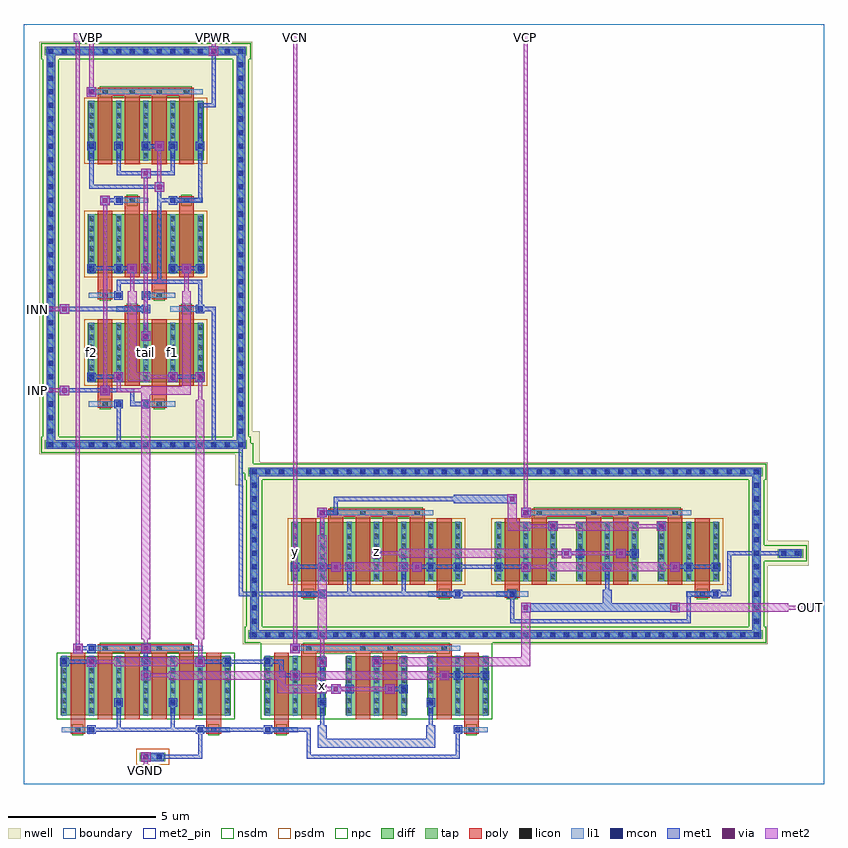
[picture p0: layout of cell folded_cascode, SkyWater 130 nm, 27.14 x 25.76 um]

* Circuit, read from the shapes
.subckt folded_cascode INN INP OUT VBN VBP VCN VCP VGND VPWR f1 f2 tail x y z
XM1 f1 VGND f1 VGND sky130_fd_pr__nfet_01v8 w=2 l=0.5 m=4
XM2 VGND VBN f1 VGND sky130_fd_pr__nfet_01v8 w=2 l=0.5 m=2
XM3 f2 VBN VGND VGND sky130_fd_pr__nfet_01v8 w=2 l=0.5 m=2
XM4 x VCN f1 VGND sky130_fd_pr__nfet_01v8 w=2 l=0.5 m=2
XM5 OUT VCN f2 VGND sky130_fd_pr__nfet_01v8 w=2 l=0.5 m=2
XM6 f2 VPWR f2 VPWR sky130_fd_pr__pfet_01v8 w=2 l=0.5 m=2
XM7 f1 VPWR f1 VPWR sky130_fd_pr__pfet_01v8 w=2 l=0.5 m=2
XM8 tail VBP VPWR VPWR sky130_fd_pr__pfet_01v8 w=2 l=0.5 m=4
XM9 tail INN f2 VPWR sky130_fd_pr__pfet_01v8 w=2 l=0.5 m=2
XM10 tail INP f1 VPWR sky130_fd_pr__pfet_01v8 w=2 l=0.5 m=2
XM11 y VPWR y VPWR sky130_fd_pr__pfet_01v8 w=2 l=0.5 m=4
XM12 VPWR x y VPWR sky130_fd_pr__pfet_01v8 w=2 l=0.5 m=2
XM13 z x VPWR VPWR sky130_fd_pr__pfet_01v8 w=2 l=0.5 m=2
XM14 x VCP y VPWR sky130_fd_pr__pfet_01v8 w=2 l=0.5 m=2
XM15 OUT VCP z VPWR sky130_fd_pr__pfet_01v8 w=2 l=0.5 m=2
.ends

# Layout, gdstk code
import gdstk
lib = gdstk.Library(unit=1e-6, precision=1e-09)
def R(c, l, rs):  # rectangles x0, y0, x1, y1
    for r in rs: c.add(gdstk.rectangle(r[:2], r[2:], *l))
def A(c, l, x, y, w, h, nx, ny, dx, dy):  # array of equal rectangles
    R(c, l, [(x+i*dx, y+j*dy, x+i*dx+w, y+j*dy+h) for i in range(nx) for j in range(ny)])
nwell = (64, 20)
diff = (65, 20)
tap = (65, 44)
poly = (66, 20)
licon = (66, 44)
li1 = (67, 20)
mcon = (67, 44)
met1 = (68, 20)
via = (68, 44)
met2_pin = (69, 16)
met2 = (69, 20)
nsdm = (93, 44)
psdm = (94, 20)
npc = (95, 20)
boundary = (235, 4)

folded_cascode = lib.new_cell('folded_cascode')
R(folded_cascode, nwell, [(7.435,4.735,25.225,7.4), (7.435,7.4,26.605,8.24), (7.435,8.24,25.225,10.124), (7.17,10.124,25.225,10.905), (7.17,10.905,8.01,11.175), (0.535,11.175,8.01,11.956), (0.535,11.956,7.745,25.165)])
A(folded_cascode, diff, 8.155, 2.325, 2.09, 2, 3, 1, 2.76, 0)
A(folded_cascode, diff, 15.975, 6.88, 2.09, 2, 3, 1, 2.76, 0)
R(folded_cascode, diff, [(1.255,2.325,7.025,4.325), (9.075,6.88,14.845,8.88), (2.175,13.625,6.105,15.625), (2.175,17.305,6.105,19.305), (2.175,21.14,6.105,23.14)])
R(folded_cascode, tap, [(3.935,0.775,4.805,1.065), (7.615,4.915,25.045,5.205), (7.675,4.915,7.965,10.725), (24.695,4.915,24.985,10.725), (25.555,7.675,26.425,7.965), (7.615,10.435,25.045,10.725), (0.715,11.355,7.565,11.645), (0.775,11.355,1.065,24.985), (7.215,11.355,7.505,24.985), (0.715,24.695,7.565,24.985)])
A(folded_cascode, poly, 2.51, 2.195, 0.5, 2.405, 4, 1, 0.92, 0)
A(folded_cascode, poly, 10.33, 6.75, 0.5, 2.45, 4, 1, 0.92, 0)
A(folded_cascode, poly, 2.51, 21.01, 0.5, 2.45, 4, 1, 0.92, 0)
R(folded_cascode, poly, [(1.59,1.705,2.09,1.975), (6.19,1.705,6.69,1.975), (8.49,1.705,8.99,1.975), (14.93,1.705,15.43,1.975), (1.59,1.84,2.09,4.455), (6.19,1.84,6.69,4.455), (8.49,1.84,8.99,4.455), (14.93,1.84,15.43,4.455), (9.41,2.195,9.91,4.6), (11.25,2.195,11.75,4.6), (12.17,2.195,12.67,4.6), (14.01,2.195,14.51,4.6), (2.51,4.465,5.77,4.735), (9.41,4.465,14.51,4.735), (9.41,6.305,9.91,6.575), (14.01,6.305,14.51,6.575), (16.31,6.305,16.81,6.575), (22.75,6.305,23.25,6.575), (9.41,6.44,9.91,9.01), (14.01,6.44,14.51,9.01), (16.31,6.44,16.81,9.01), (22.75,6.44,23.25,9.01), (17.23,6.75,17.73,9.2), (19.07,6.75,19.57,9.2), (19.99,6.75,20.49,9.2), (21.83,6.75,22.33,9.2), (10.33,9.065,13.59,9.335), (17.23,9.065,22.33,9.335), (2.51,12.745,3.01,13.015), (4.35,12.745,4.85,13.015), (2.51,12.88,3.01,15.755), (4.35,12.88,4.85,15.755), (3.43,13.495,3.93,16.1), (5.27,13.495,5.77,16.1), (3.43,15.965,3.93,16.235), (5.27,15.965,5.77,16.235), (2.51,16.425,3.01,16.695), (4.35,16.425,4.85,16.695), (2.51,16.56,3.01,19.435), (4.35,16.56,4.85,19.435), (3.43,17.175,3.93,19.78), (5.27,17.175,5.77,19.78), (3.43,19.645,3.93,19.915), (5.27,19.645,5.77,19.915), (2.51,23.325,5.77,23.595)])
A(folded_cascode, licon, 1.295, 2.39, 0.17, 0.17, 7, 6, 0.92, 0.34)
A(folded_cascode, licon, 8.195, 2.39, 0.17, 0.17, 9, 6, 0.92, 0.34)
A(folded_cascode, licon, 2.675, 4.515, 0.17, 0.17, 4, 2, 0.92, 18.86)
A(folded_cascode, licon, 7.735, 4.975, 0.17, 0.17, 38, 2, 0.46, 5.52)
A(folded_cascode, licon, 7.735, 5.435, 0.17, 0.17, 1, 11, 0, 0.46)
A(folded_cascode, licon, 24.755, 5.435, 0.17, 0.17, 1, 11, 0, 0.46)
A(folded_cascode, licon, 9.115, 6.945, 0.17, 0.17, 7, 6, 0.92, 0.34)
A(folded_cascode, licon, 16.015, 6.945, 0.17, 0.17, 9, 6, 0.92, 0.34)
A(folded_cascode, licon, 10.495, 9.115, 0.17, 0.17, 4, 1, 0.92, 0)
A(folded_cascode, licon, 0.835, 11.415, 0.17, 0.17, 15, 2, 0.46, 13.34)
A(folded_cascode, licon, 7.275, 11.875, 0.17, 0.17, 1, 9, 0, 0.46)
A(folded_cascode, licon, 0.835, 12.795, 0.17, 0.17, 3, 2, 1.84, 3.68)
A(folded_cascode, licon, 0.835, 13.255, 0.17, 0.17, 1, 7, 0, 0.46)
A(folded_cascode, licon, 2.215, 13.69, 0.17, 0.17, 5, 6, 0.92, 0.34)
A(folded_cascode, licon, 3.595, 16.015, 0.17, 0.17, 3, 2, 1.84, 3.68)
A(folded_cascode, licon, 7.275, 16.475, 0.17, 0.17, 1, 7, 0, 0.46)
A(folded_cascode, licon, 0.835, 16.935, 0.17, 0.17, 1, 17, 0, 0.46)
A(folded_cascode, licon, 2.215, 17.37, 0.17, 0.17, 5, 6, 0.92, 0.34)
A(folded_cascode, licon, 7.275, 20.155, 0.17, 0.17, 1, 10, 0, 0.46)
A(folded_cascode, licon, 2.215, 21.205, 0.17, 0.17, 5, 6, 0.92, 0.34)
R(folded_cascode, licon, [(4.055,0.835,4.225,1.005), (4.515,0.835,4.685,1.005), (1.755,1.755,1.925,1.925), (6.355,1.755,6.525,1.925), (8.655,1.755,8.825,1.925), (15.095,1.755,15.265,1.925), (9.575,4.515,9.745,4.685), (11.415,4.515,11.585,4.685), (12.335,4.515,12.505,4.685), (14.175,4.515,14.345,4.685), (9.575,6.355,9.745,6.525), (14.175,6.355,14.345,6.525), (16.475,6.355,16.645,6.525), (22.915,6.355,23.085,6.525), (25.675,7.735,25.845,7.905), (26.135,7.735,26.305,7.905), (17.395,9.115,17.565,9.285), (19.235,9.115,19.405,9.285), (20.155,9.115,20.325,9.285), (21.995,9.115,22.165,9.285), (0.835,11.875,1.005,12.045), (0.835,12.335,1.005,12.505)])
A(folded_cascode, li1, 1.295, 2.31, 0.17, 2.03, 7, 1, 0.92, 0)
A(folded_cascode, li1, 8.195, 2.31, 0.17, 2.03, 9, 1, 0.92, 0)
A(folded_cascode, li1, 9.115, 6.865, 0.17, 2.03, 7, 1, 0.92, 0)
A(folded_cascode, li1, 16.015, 6.865, 0.17, 2.03, 9, 1, 0.92, 0)
A(folded_cascode, li1, 2.215, 13.61, 0.17, 2.03, 5, 2, 0.92, 3.68)
A(folded_cascode, li1, 2.215, 21.125, 0.17, 2.03, 5, 1, 0.92, 0)
R(folded_cascode, li1, [(3.975,0.835,4.765,1.005), (1.295,1.755,2.385,1.925), (5.895,1.755,6.985,1.925), (8.195,1.755,9.285,1.925), (14.635,1.755,15.725,1.925), (2.215,4.515,6.065,4.685), (9.115,4.515,14.805,4.685), (7.655,4.975,25.005,5.145), (7.735,4.975,7.905,10.665), (24.755,4.975,24.925,10.665), (9.115,6.355,10.205,6.525), (13.715,6.355,14.805,6.525), (16.015,6.355,17.105,6.525), (22.455,6.355,23.545,6.525), (25.595,7.735,26.385,7.905), (10.035,9.115,13.885,9.285), (16.935,9.115,22.625,9.285), (7.655,10.495,25.005,10.665), (0.755,11.415,7.525,11.585), (0.835,11.415,1.005,24.925), (7.275,11.415,7.445,24.925), (2.215,12.795,3.305,12.965), (4.055,12.795,5.145,12.965), (3.135,16.015,4.225,16.185), (4.975,16.015,6.065,16.185), (2.215,16.475,3.305,16.645), (4.055,16.475,5.145,16.645), (3.135,19.695,4.225,19.865), (4.975,19.695,6.065,19.865), (2.215,23.375,6.065,23.545), (0.755,24.755,7.525,24.925)])
A(folded_cascode, mcon, 2.215, 4.055, 0.17, 0.17, 3, 1, 1.84, 0)
A(folded_cascode, mcon, 7.735, 4.975, 0.17, 0.17, 38, 2, 0.46, 5.52)
A(folded_cascode, mcon, 7.735, 5.435, 0.17, 0.17, 1, 11, 0, 0.46)
A(folded_cascode, mcon, 24.755, 5.435, 0.17, 0.17, 1, 11, 0, 0.46)
A(folded_cascode, mcon, 9.115, 7.275, 0.17, 0.17, 3, 1, 0.92, 0)
A(folded_cascode, mcon, 12.795, 7.275, 0.17, 0.17, 3, 1, 0.92, 0)
A(folded_cascode, mcon, 16.935, 7.275, 0.17, 0.17, 3, 1, 2.76, 0)
A(folded_cascode, mcon, 0.835, 11.415, 0.17, 0.17, 15, 2, 0.46, 13.34)
A(folded_cascode, mcon, 0.835, 11.875, 0.17, 0.17, 1, 7, 0, 0.46)
A(folded_cascode, mcon, 7.275, 11.875, 0.17, 0.17, 1, 7, 0, 0.46)
A(folded_cascode, mcon, 0.835, 15.095, 0.17, 0.17, 3, 1, 3.22, 0)
A(folded_cascode, mcon, 0.835, 15.555, 0.17, 0.17, 1, 20, 0, 0.46)
A(folded_cascode, mcon, 7.275, 15.555, 0.17, 0.17, 1, 20, 0, 0.46)
A(folded_cascode, mcon, 2.215, 17.395, 0.17, 0.17, 5, 2, 0.92, 4.14)
R(folded_cascode, mcon, [(4.055,0.835,4.225,1.005), (4.515,0.835,4.685,1.005), (2.215,1.755,2.385,1.925), (5.895,1.755,6.065,1.925), (8.195,1.755,8.365,1.925), (14.635,1.755,14.805,1.925), (3.135,2.675,3.305,2.845), (4.975,2.675,5.145,2.845), (10.035,2.675,10.205,2.845), (13.715,2.675,13.885,2.845), (10.955,3.135,11.125,3.305), (12.795,3.135,12.965,3.305), (9.115,3.595,9.285,3.765), (14.635,3.595,14.805,3.765), (15.555,3.595,15.725,3.765), (1.295,4.055,1.465,4.225), (6.815,4.055,6.985,4.225), (8.195,4.055,8.365,4.225), (11.875,4.055,12.045,4.225), (2.215,4.515,2.385,4.685), (9.115,4.515,9.285,4.685), (10.035,6.355,10.205,6.525), (14.635,6.355,14.805,6.525), (16.475,6.355,16.645,6.525), (23.375,6.355,23.545,6.525), (16.015,7.275,16.185,7.445), (23.375,7.275,23.545,7.445), (11.875,7.735,12.045,7.905), (18.775,7.735,18.945,7.905), (20.615,7.735,20.785,7.905), (25.675,7.735,25.845,7.905), (26.135,7.735,26.305,7.905), (17.855,8.655,18.025,8.825), (21.535,8.655,21.705,8.825), (10.035,9.115,10.205,9.285), (16.935,9.115,17.105,9.285), (3.135,12.795,3.305,12.965), (4.055,12.795,4.225,12.965), (2.215,13.715,2.385,13.885), (3.135,13.715,3.305,13.885), (4.975,13.715,5.145,13.885), (5.895,13.715,6.065,13.885), (4.055,16.015,4.225,16.185), (5.895,16.015,6.065,16.185), (3.135,16.475,3.305,16.645), (4.055,16.475,4.225,16.645), (3.135,19.695,3.305,19.865), (4.975,19.695,5.145,19.865), (2.215,23.375,2.385,23.545)])
A(folded_cascode, met1, 3.98, 3.52, 0.32, 0.32, 3, 1, 5.06, 0)
A(folded_cascode, met1, 2.155, 3.995, 0.29, 0.29, 3, 1, 1.84, 0)
A(folded_cascode, met1, 9.055, 7.215, 0.29, 0.29, 3, 1, 0.92, 0)
A(folded_cascode, met1, 12.735, 7.215, 0.29, 0.29, 3, 1, 0.92, 0)
A(folded_cascode, met1, 16.875, 7.215, 0.29, 0.29, 3, 1, 2.76, 0)
A(folded_cascode, met1, 2.155, 17.335, 0.29, 0.29, 5, 2, 0.92, 4.14)
R(folded_cascode, met1, [(3.98,0.76,4.3,1.08), (3.995,0.775,4.745,1.065), (4.07,0.85,6.05,0.99), (4.07,0.85,4.21,0.99), (5.91,0.85,6.05,1.91), (9.59,0.85,14.79,0.99), (9.59,0.85,9.73,1.91), (14.65,0.85,14.79,1.91), (9.97,1.23,13.95,1.53), (9.97,1.23,10.27,1.99), (13.65,1.23,13.95,1.99), (2.155,1.695,2.445,1.985), (5.835,1.695,6.125,1.985), (8.135,1.695,8.425,1.985), (14.575,1.695,14.865,1.985), (2.23,1.77,5.13,1.91), (3.15,1.77,3.29,2.83), (4.99,1.77,5.13,2.83), (4.99,1.77,6.05,1.91), (5.91,1.77,8.35,1.91), (8.21,1.77,9.73,1.91), (10.05,1.77,10.19,2.83), (13.73,1.77,13.87,2.83), (3.075,2.615,3.365,2.905), (4.915,2.615,5.205,2.905), (9.975,2.615,10.265,2.905), (13.655,2.615,13.945,2.905), (10.05,2.69,10.19,4.21), (10.42,3.06,10.74,3.38), (12.26,3.06,12.58,3.38), (10.895,3.075,11.185,3.365), (12.735,3.075,13.025,3.365), (10.51,3.15,11.11,3.29), (12.35,3.15,12.95,3.29), (9.055,3.535,9.345,3.825), (14.575,3.535,14.865,3.825), (15.495,3.535,15.785,3.825), (4.07,3.61,4.21,4.21), (8.67,3.61,9.27,3.75), (8.67,3.61,8.81,4.21), (14.19,3.61,14.79,3.75), (14.65,3.61,15.71,3.75), (2.14,3.98,2.46,4.3), (5.82,3.98,6.14,4.3), (9.96,3.98,10.28,4.3), (11.8,3.98,12.12,4.3), (1.235,3.995,1.525,4.285), (6.755,3.995,7.045,4.285), (8.135,3.995,8.425,4.285), (11.815,3.995,12.105,4.285), (1.31,4.07,2.37,4.21), (4.07,4.07,4.21,4.67), (5.91,4.07,6.97,4.21), (6.83,4.07,8.35,4.21), (8.21,4.07,8.81,4.21), (1.68,4.44,2,4.76), (3.98,4.44,4.3,4.76), (9.04,4.44,9.36,4.76), (2.155,4.455,2.445,4.745), (9.055,4.455,9.345,4.745), (1.77,4.53,2.37,4.67), (7.675,4.915,24.985,5.205), (7.675,4.915,7.965,10.725), (24.695,4.915,24.985,10.725), (16.49,5.45,16.63,6.51), (16.49,5.45,22.61,5.59), (22.47,5.45,22.61,6.51), (16.86,5.82,17.18,6.14), (21.92,5.82,22.24,6.14), (16.87,5.83,19.93,6.13), (19.63,5.83,19.93,6.59), (19.63,5.83,22.23,6.13), (9.975,6.295,10.265,6.585), (14.575,6.295,14.865,6.585), (16.415,6.295,16.705,6.585), (23.315,6.295,23.605,6.585), (7.29,6.37,10.19,6.51), (7.29,6.37,7.43,11.57), (10.05,6.37,12.95,6.51), (10.97,6.37,11.11,7.43), (12.81,6.37,14.79,6.51), (12.81,6.37,12.95,7.43), (14.65,6.37,16.63,6.51), (19.71,6.37,19.85,7.43), (22.47,6.37,23.53,6.51), (23.39,6.37,23.99,6.51), (23.85,6.37,23.99,7.89), (10.42,7.2,10.74,7.52), (13.18,7.2,13.5,7.52), (16.86,7.2,17.18,7.52), (21.92,7.2,22.24,7.52), (15.955,7.215,16.245,7.505), (23.315,7.215,23.605,7.505), (9.13,7.29,10.19,7.43), (10.05,7.29,10.65,7.43), (13.27,7.29,13.87,7.43), (13.73,7.29,14.79,7.43), (14.65,7.29,16.17,7.43), (16.03,7.29,17.09,7.43), (22.01,7.29,22.61,7.43), (22.47,7.29,23.53,7.43), (11.8,7.66,12.12,7.98), (18.24,7.66,18.56,7.98), (20.08,7.66,20.4,7.98), (11.815,7.675,12.105,7.965), (18.715,7.675,19.005,7.965), (20.555,7.675,20.845,7.965), (25.615,7.675,26.365,7.965), (18.33,7.75,18.93,7.89), (20.17,7.75,20.77,7.89), (23.85,7.75,24.91,7.89), (24.77,7.75,25.83,7.89), (24.77,7.75,24.91,10.65), (24.77,7.75,24.91,7.89), (25.69,7.75,25.83,7.89), (17.78,8.58,18.1,8.9), (21.46,8.58,21.78,8.9), (17.795,8.595,18.085,8.885), (21.475,8.595,21.765,8.885), (9.96,9.04,10.28,9.36), (16.86,9.04,17.18,9.36), (9.975,9.055,10.265,9.345), (16.875,9.055,17.165,9.345), (10.05,9.13,10.65,9.27), (10.51,9.13,10.65,9.73), (16.4,9.5,16.72,9.82), (14.57,9.51,16.71,9.81), (10.51,9.59,14.79,9.73), (7.675,10.435,24.985,10.725), (24.77,10.51,24.91,10.65), (0.775,11.355,1.065,24.985), (0.775,11.355,7.505,11.645), (7.215,11.355,7.505,24.985), (3.15,11.43,7.43,11.57), (3.15,11.43,3.29,12.95), (6.37,11.43,6.51,16.17), (7.29,11.43,7.43,11.57), (3.075,12.735,3.365,13.025), (3.995,12.735,4.285,13.025), (3.61,12.81,4.21,12.95), (3.61,12.81,3.75,13.41), (1.22,13.18,1.54,13.5), (2.6,13.18,2.92,13.5), (1.31,13.27,3.75,13.41), (3.06,13.64,3.38,13.96), (4.9,13.64,5.22,13.96), (5.82,13.64,6.14,13.96), (2.155,13.655,2.445,13.945), (3.075,13.655,3.365,13.945), (4.915,13.655,5.205,13.945), (5.835,13.655,6.125,13.945), (2.23,13.73,3.29,13.87), (4.99,13.73,6.05,13.87), (3.98,15.02,4.3,15.34), (3.995,15.035,4.285,15.325), (1.22,15.94,1.54,16.26), (3.995,15.955,4.285,16.245), (5.835,15.955,6.125,16.245), (1.31,16.03,4.21,16.17), (4.07,16.03,4.21,16.63), (5.91,16.03,6.51,16.17), (5.91,16.03,6.05,17.09), (3.075,16.415,3.365,16.705), (3.995,16.415,4.285,16.705), (3.15,16.49,3.29,17.09), (3.15,16.95,6.05,17.09), (4.53,16.95,4.67,19.85), (3.52,17.32,3.84,17.64), (3.98,17.32,4.3,17.64), (5.36,17.32,5.68,17.64), (2.23,17.41,3.29,17.55), (3.15,17.41,3.75,17.55), (4.99,17.41,5.59,17.55), (5.45,17.41,6.05,17.55), (2.6,19.62,2.92,19.94), (3.075,19.635,3.365,19.925), (4.915,19.635,5.205,19.925), (2.69,19.71,3.29,19.85), (4.53,19.71,5.13,19.85), (4.53,19.71,4.67,20.31), (4.99,19.71,6.05,19.85), (5.91,19.71,6.05,21.69), (4.44,20.08,4.76,20.4), (2.23,20.17,2.37,21.69), (2.23,20.17,4.67,20.31), (3.98,20.54,4.3,20.86), (3.15,20.63,3.29,21.69), (3.15,20.63,4.21,20.77), (4.07,20.63,5.13,20.77), (4.99,20.63,5.13,21.69), (4.44,21.46,4.76,21.78), (4.07,21.55,4.67,21.69), (5.91,21.55,6.05,23.07), (5.91,22.93,6.51,23.07), (6.37,22.93,6.51,24.91), (2.14,23.3,2.46,23.62), (2.155,23.315,2.445,23.605), (6.28,24.68,6.6,25), (0.775,24.695,7.505,24.985), (6.37,24.77,6.51,24.91)])
A(folded_cascode, via, 4.065, 3.605, 0.15, 0.15, 3, 1, 5.06, 0)
R(folded_cascode, via, [(4.065,0.845,4.215,0.995), (10.505,3.145,10.655,3.295), (12.345,3.145,12.495,3.295), (2.225,4.065,2.375,4.215), (5.905,4.065,6.055,4.215), (10.045,4.065,10.195,4.215), (11.885,4.065,12.035,4.215), (1.765,4.525,1.915,4.675), (4.065,4.525,4.215,4.675), (9.125,4.525,9.275,4.675), (16.945,5.905,17.095,6.055), (22.005,5.905,22.155,6.055), (10.505,7.285,10.655,7.435), (13.265,7.285,13.415,7.435), (16.945,7.285,17.095,7.435), (22.005,7.285,22.155,7.435), (11.885,7.745,12.035,7.895), (18.325,7.745,18.475,7.895), (20.165,7.745,20.315,7.895), (17.865,8.665,18.015,8.815), (21.545,8.665,21.695,8.815), (10.045,9.125,10.195,9.275), (16.945,9.125,17.095,9.275), (16.485,9.585,16.635,9.735), (1.305,13.265,1.455,13.415), (2.685,13.265,2.835,13.415), (3.145,13.725,3.295,13.875), (4.985,13.725,5.135,13.875), (5.905,13.725,6.055,13.875), (4.065,15.105,4.215,15.255), (1.305,16.025,1.455,16.175), (3.605,17.405,3.755,17.555), (4.065,17.405,4.215,17.555), (5.445,17.405,5.595,17.555), (2.685,19.705,2.835,19.855), (4.525,20.165,4.675,20.315), (4.065,20.625,4.215,20.775), (4.525,21.545,4.675,21.695), (2.225,23.385,2.375,23.535), (6.365,24.765,6.515,24.915)])
R(folded_cascode, met2_pin, [(3.99,0.31,4.29,0.61), (26.53,5.83,26.83,6.13), (0.31,13.19,0.61,13.49), (0.31,15.95,0.61,16.25), (1.69,25.15,1.99,25.45), (2.15,25.15,2.45,25.45), (6.29,25.15,6.59,25.45), (9.05,25.15,9.35,25.45), (16.87,25.15,17.17,25.45)])
A(folded_cascode, met2, 3.98, 3.52, 0.32, 0.32, 3, 1, 5.06, 0)
R(folded_cascode, met2, [(3.99,0.31,4.29,0.61), (4.07,0.39,4.21,0.53), (4.07,0.39,4.21,0.99), (3.98,0.76,4.3,1.08), (10.42,3.06,10.74,3.38), (12.26,3.06,12.58,3.38), (8.59,3.07,10.27,3.37), (8.59,3.07,8.89,3.83), (10.05,3.15,10.65,3.29), (10.51,3.15,12.49,3.29), (4.91,3.53,8.89,3.83), (9.97,3.53,13.95,3.83), (4.07,3.61,5.13,3.75), (9.13,3.61,10.19,3.75), (13.73,3.61,14.33,3.75), (2.14,3.98,2.46,4.3), (5.82,3.98,6.14,4.3), (9.96,3.98,10.28,4.3), (11.8,3.98,12.12,4.3), (3.07,3.99,5.21,4.29), (12.73,3.99,17.17,4.29), (16.87,3.99,17.17,6.13), (2.23,4.07,3.29,4.21), (4.99,4.07,6.05,4.21), (5.91,4.07,6.05,5.13), (10.05,4.07,10.19,5.13), (11.89,4.07,12.95,4.21), (1.68,4.44,2,4.76), (3.98,4.44,4.3,4.76), (9.04,4.44,9.36,4.76), (1.77,4.53,1.91,25.37), (4.07,4.53,4.21,5.13), (9.13,4.53,9.27,25.37), (3.99,4.91,4.29,13.49), (5.83,4.91,6.13,13.03), (9.97,4.91,10.27,8.43), (16.86,5.82,17.18,6.14), (21.92,5.82,22.24,6.14), (21.93,5.83,25.91,6.13), (26.53,5.83,26.83,6.13), (25.69,5.91,26.75,6.05), (26.61,5.91,26.75,6.05), (10.42,7.2,10.74,7.52), (13.18,7.2,13.5,7.52), (16.86,7.2,17.18,7.52), (21.92,7.2,22.24,7.52), (10.89,7.21,13.03,7.51), (17.79,7.21,21.77,7.51), (10.51,7.29,11.11,7.43), (12.81,7.29,13.41,7.43), (16.95,7.29,18.01,7.43), (21.55,7.29,22.15,7.43), (11.8,7.66,12.12,7.98), (18.24,7.66,18.56,7.98), (20.08,7.66,20.4,7.98), (12.73,7.67,18.09,7.97), (11.89,7.75,12.95,7.89), (17.87,7.75,18.47,7.89), (18.33,7.75,20.31,7.89), (10.05,8.21,10.19,9.27), (17.78,8.58,18.1,8.9), (21.46,8.58,21.78,8.9), (16.41,8.59,17.17,8.89), (16.41,8.59,16.71,9.81), (18.71,8.59,20.85,8.89), (16.95,8.67,18.01,8.81), (17.87,8.67,18.93,8.81), (20.63,8.67,21.69,8.81), (9.96,9.04,10.28,9.36), (16.86,9.04,17.18,9.36), (16.95,9.13,17.09,25.37), (16.4,9.5,16.72,9.82), (5.91,12.81,6.05,13.87), (1.22,13.18,1.54,13.5), (2.6,13.18,2.92,13.5), (0.31,13.19,0.61,13.49), (3.99,13.19,5.67,13.49), (5.37,13.19,5.67,16.71), (0.39,13.27,0.53,13.41), (0.39,13.27,1.45,13.41), (2.69,13.27,2.83,19.85), (3.15,13.27,3.29,13.87), (3.15,13.27,4.21,13.41), (3.06,13.64,3.38,13.96), (4.9,13.64,5.22,13.96), (5.82,13.64,6.14,13.96), (3.53,13.65,4.29,13.95), (3.53,13.65,3.83,16.71), (4.07,13.73,5.13,13.87), (3.98,15.02,4.3,15.34), (4.07,15.11,4.21,17.55), (1.22,15.94,1.54,16.26), (0.31,15.95,0.61,16.25), (0.39,16.03,0.53,16.17), (0.39,16.03,1.45,16.17), (3.61,16.49,3.75,17.55), (5.45,16.49,5.59,17.55), (3.52,17.32,3.84,17.64), (3.98,17.32,4.3,17.64), (5.36,17.32,5.68,17.64), (4.07,17.41,4.21,20.77), (2.6,19.62,2.92,19.94), (4.44,20.08,4.76,20.4), (4.53,20.17,4.67,21.69), (3.98,20.54,4.3,20.86), (4.44,21.46,4.76,21.78), (2.14,23.3,2.46,23.62), (2.23,23.39,2.37,25.37), (6.28,24.68,6.6,25), (6.37,24.77,6.51,25.37), (1.69,25.15,1.99,25.45), (2.15,25.15,2.45,25.45), (6.29,25.15,6.59,25.45), (9.05,25.15,9.35,25.45), (16.87,25.15,17.17,25.45), (1.77,25.23,1.91,25.37), (2.23,25.23,2.37,25.37), (6.37,25.23,6.51,25.37), (9.13,25.23,9.27,25.37), (16.95,25.23,17.09,25.37)])
R(folded_cascode, nsdm, [(1.13,2.2,7.15,4.45), (8.03,2.2,15.89,4.79), (7.49,4.79,25.17,5.33), (7.55,5.33,8.09,10.31), (24.57,5.33,25.11,7.55), (24.57,7.55,26.55,8.09), (24.57,8.09,25.11,10.31), (7.49,10.31,25.17,10.527), (7.4,10.527,25.17,10.85), (7.4,10.85,7.78,11.23), (0.59,11.23,7.78,11.553), (0.59,11.553,7.69,11.77), (0.65,11.77,1.19,24.57), (7.09,11.77,7.63,24.57), (0.59,24.57,7.69,25.11)])
R(folded_cascode, psdm, [(3.81,0.65,4.93,1.19), (8.95,6.755,14.97,9.005), (15.85,6.755,23.71,9.005), (2.05,13.5,6.23,15.75), (2.05,17.18,6.23,19.43), (2.05,21.015,6.23,23.265)])
R(folded_cascode, npc, [(1.655,1.655,2.025,2.025), (6.255,1.655,6.625,2.025), (8.555,1.655,8.925,2.025), (14.995,1.655,15.365,2.025), (2.575,4.415,5.705,4.785), (9.475,4.415,14.445,4.785), (9.475,6.255,9.845,6.625), (14.075,6.255,14.445,6.625), (16.375,6.255,16.745,6.625), (22.815,6.255,23.185,6.625), (10.395,9.015,13.525,9.385), (17.295,9.015,22.265,9.385), (2.575,12.695,2.945,13.065), (4.415,12.695,4.785,13.065), (3.495,15.915,3.865,16.285), (5.335,15.915,5.705,16.285), (2.575,16.375,2.945,16.745), (4.415,16.375,4.785,16.745), (3.495,19.595,3.865,19.965), (5.335,19.595,5.705,19.965), (2.575,23.275,5.705,23.645)])
R(folded_cascode, boundary, [(0,0,27.14,25.76)])
folded_cascode.add(gdstk.Label('f2', (2.3,14.625), layer=67, texttype=5))
folded_cascode.add(gdstk.Label('tail', (4.14,14.625), layer=67, texttype=5))
folded_cascode.add(gdstk.Label('f1', (5.06,14.625), layer=67, texttype=5))
folded_cascode.add(gdstk.Label('x', (10.12,3.325), layer=67, texttype=5))
folded_cascode.add(gdstk.Label('y', (9.2,7.88), layer=67, texttype=5))
folded_cascode.add(gdstk.Label('z', (11.96,7.88), layer=67, texttype=5))
folded_cascode.add(gdstk.Label('INP', (0.46,13.34), layer=69, texttype=5))
folded_cascode.add(gdstk.Label('INN', (0.46,16.1), layer=69, texttype=5))
folded_cascode.add(gdstk.Label('VBP', (2.3,25.3), layer=69, texttype=5))
folded_cascode.add(gdstk.Label('VBN', (1.84,25.3), layer=69, texttype=5))
folded_cascode.add(gdstk.Label('VCN', (9.2,25.3), layer=69, texttype=5))
folded_cascode.add(gdstk.Label('VCP', (17.02,25.3), layer=69, texttype=5))
folded_cascode.add(gdstk.Label('OUT', (26.68,5.98), layer=69, texttype=5))
folded_cascode.add(gdstk.Label('VPWR', (6.44,25.3), layer=69, texttype=5))
folded_cascode.add(gdstk.Label('VGND', (4.14,0.46), layer=69, texttype=5))
folded_cascode.add(gdstk.Label('INP', (0.46,13.34), layer=69, texttype=16))
folded_cascode.add(gdstk.Label('INN', (0.46,16.1), layer=69, texttype=16))
folded_cascode.add(gdstk.Label('VBP', (2.3,25.3), layer=69, texttype=16))
folded_cascode.add(gdstk.Label('VBN', (1.84,25.3), layer=69, texttype=16))
folded_cascode.add(gdstk.Label('VCN', (9.2,25.3), layer=69, texttype=16))
folded_cascode.add(gdstk.Label('VCP', (17.02,25.3), layer=69, texttype=16))
folded_cascode.add(gdstk.Label('OUT', (26.68,5.98), layer=69, texttype=16))
folded_cascode.add(gdstk.Label('VPWR', (6.44,25.3), layer=69, texttype=16))
folded_cascode.add(gdstk.Label('VGND', (4.14,0.46), layer=69, texttype=16))

lib.write_gds('folded_cascode.gds')
